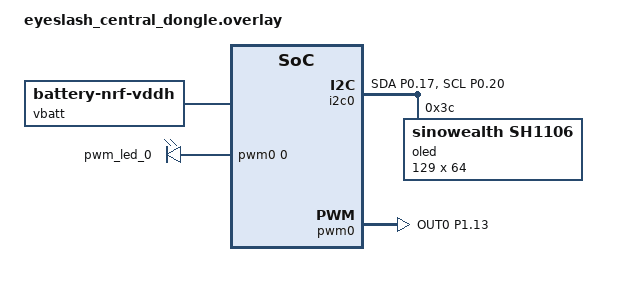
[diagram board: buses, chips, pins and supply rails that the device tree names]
/*
*
* Copyright (c) 2021 Darryl deHaan
* SPDX-License-Identifier: MIT
*
*/
#include <dt-bindings/led/led.h>
#include <dt-bindings/zmk/matrix_transform.h>
#include "planck.dtsi"

/{
    chosen {
        zmk,kscan = &mock_kscan;
				zmk,physical-layout =&matrix_physical_layout;
        zephyr,display = &oled;
				zmk,battery=&vbatt;
				zmk,backlight=&backlight;
    };
    mock_kscan: kscan_1 {
        compatible = "zmk,kscan-mock";

        columns = <0>;
        rows = <0>;
        events = <0>;
    };
    vbatt: vbatt {
        compatible = "zmk,battery-nrf-vddh";
    };
		right_encoder: encoder_right {
						compatible = "alps,ec11";
						a-gpios = <&gpio1 0 (GPIO_ACTIVE_HIGH | GPIO_OPEN_DRAIN)>;
						b-gpios = <&gpio1 2 (GPIO_ACTIVE_HIGH | GPIO_OPEN_DRAIN)>;
						status = "disabled";
						steps = <30>;
		 };

		left_encoder: encoder_left {
						compatible = "alps,ec11";
						a-gpios = <&gpio1 0 (GPIO_ACTIVE_HIGH | GPIO_OPEN_DRAIN)>;
						b-gpios = <&gpio1 2 (GPIO_ACTIVE_HIGH | GPIO_OPEN_DRAIN)>;
						status = "disabled";
						steps = <30>;
		 };
		sensors: sensors {
						compatible = "zmk,keymap-sensors";
						sensors = <&left_encoder &right_encoder >;
						triggers-per-rotation = <15>;
				};
	 backlight: pwmleds {
        compatible = "pwm-leds";
        pwm_led_0 {
            pwms = <&pwm0 0 PWM_MSEC(1) PWM_POLARITY_NORMAL>;
        };
    };
};
&pinctrl {
    pwm0_default: pwm0_default {
        group1 {
            psels = <NRF_PSEL(PWM_OUT0, 1, 13)>;
        };
    };
    pwm0_sleep: pwm0_sleep {
        group1 {
            psels = <NRF_PSEL(PWM_OUT0, 1, 13)>;
            low-power-enable;
        };
    };
};

&pinctrl {
    i2c0_default: i2c0_default {
        group1 {
            psels = <NRF_PSEL(TWIM_SDA, 0,17)>,
                <NRF_PSEL(TWIM_SCL, 0, 20)>;
        };
    };

    i2c0_sleep: i2c0_sleep {
        group1 {
            psels = <NRF_PSEL(TWIM_SDA, 0, 17)>,
                <NRF_PSEL(TWIM_SCL, 0, 20)>;
            low-power-enable;
        };
    };	
}; 

&i2c0 {
	status = "okay";
	compatible = "nordic,nrf-twi";
    pinctrl-0 = <&i2c0_default>;
    pinctrl-1 = <&i2c0_sleep>;
	oled: sh1106@3c {
        compatible = "sinowealth,sh1106";
        reg = <0x3c>;
        width = <129>;
        height = <64>;
        segment-offset = <1>;
        page-offset = <0>;
        display-offset = <0>;
        multiplex-ratio = <63>;
        segment-remap;
        com-invdir;
        inversion-on;
        prechargep = <0x22>;
	};
};

&pwm0 {
    status = "okay";
    pinctrl-0 = <&pwm0_default>;
    pinctrl-1 = <&pwm0_sleep>;
    pinctrl-names = "default", "sleep";
};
